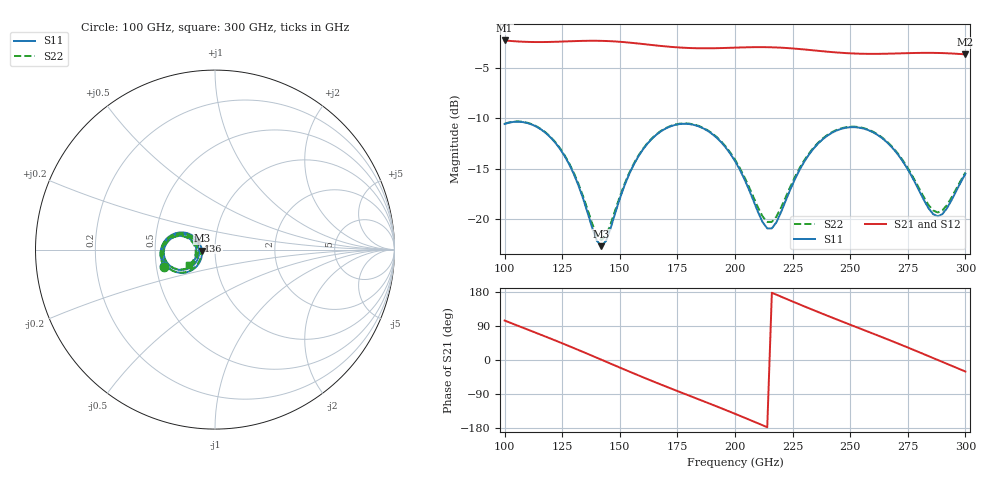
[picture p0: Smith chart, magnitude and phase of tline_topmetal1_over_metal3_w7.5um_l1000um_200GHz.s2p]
#  GHZ S DB R 50
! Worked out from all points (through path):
!   101 points, 100 GHz to 300 GHz, reference 50 ohm
!   highest |S21| = -2.23 dB at 100 GHz (marker M1); lowest = -3.6 dB at 300 GHz (marker M2)
!   group delay of S21, straight-line fit = 6.87 ps
!   lowest |S11| = -22.7 dB at 142 GHz (marker M3), VSWR 1.16, Z = 43.2 - j0.55 ohm
!   |S11| at or under -10 dB: start of sweep to end of sweep
!   |S22| runs from -22.1 to -10.3 dB; largest |S21 - S12| = 1.2e-13
!   S11 on the Smith chart (normalised r, x): 100 GHz: 0.55, -0.11; 136 GHz: 0.82, +0.08; 300 GHz: 0.74, -0.13
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100  -10.55 -161.9  -2.23 104.2  -2.23 104.2  -10.52 -161.4
108  -10.36 -177.3  -2.36 85.1  -2.36 85.1  -10.34 -176.6
116  -11.12 167.9  -2.39 66.0  -2.39 66.0  -11.08 168.9
126  -13.73 152.2  -2.33 41.6  -2.33 41.6  -13.64 153.7
134  -17.93 148.8  -2.27 21.5  -2.27 21.5  -17.71 150.9
136  -19.37 151.9  -2.26 16.3  -2.26 16.3  -19.07 154.1
142  -22.72 -175.0  -2.27 0.8  -2.27 0.8  -22.12 -174.8
154  -15.58 -137.9  -2.44 -30.2  -2.44 -30.2  -15.47 -139.0
168  -11.26 -156.8  -2.78 -65.1  -2.78 -65.1  -11.22 -156.8
176  -10.56 -170.6  -2.93 -84.3  -2.93 -84.3  -10.52 -170.4
184  -10.77 175.6  -3.00 -103.3  -3.00 -103.3  -10.72 176.2
200  -14.24 153.4  -2.94 -142.0  -2.94 -142.0  -14.11 154.9
212  -20.34 167.8  -2.90 -172.3  -2.90 -172.3  -19.77 169.4
216  -20.95 -170.1  -2.91 177.4  -2.91 177.4  -20.30 -170.6
224  -17.08 -144.7  -3.01 156.9  -3.01 156.9  -16.81 -146.7
234  -13.03 -149.4  -3.21 131.8  -3.21 131.8  -12.93 -150.6
250  -10.87 -173.1  -3.51 93.2  -3.51 93.2  -10.82 -173.5
258  -11.18 174.4  -3.56 74.2  -3.56 74.2  -11.12 174.4
268  -12.84 161.1  -3.54 50.2  -3.54 50.2  -12.76 161.4
278  -16.32 156.8  -3.48 25.4  -3.48 25.4  -16.14 157.6
288  -19.75 -176.1  -3.47 0.1  -3.47 0.1  -19.37 -176.4
300  -15.51 -148.5  -3.62 -30.4  -3.62 -30.4  -15.37 -149.8
